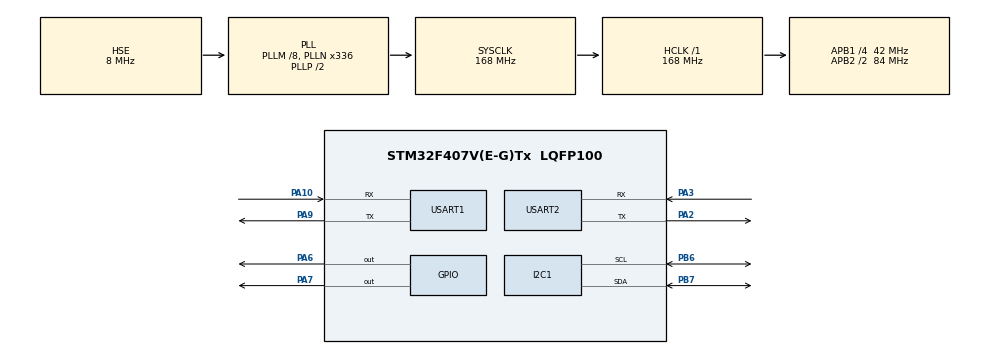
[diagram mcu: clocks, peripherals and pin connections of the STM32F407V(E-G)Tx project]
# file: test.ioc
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Dma.Request0=USART1_RX
Dma.USART1_RX.0.Direction=DMA_PERIPH_TO_MEMORY
Dma.USART1_RX.0.FIFOMode=DMA_FIFOMODE_DISABLE
Dma.USART1_RX.0.Instance=DMA2_Stream2
Dma.USART1_RX.0.MemDataAlignment=DMA_MDATAALIGN_BYTE
Dma.USART1_RX.0.MemInc=DMA_MINC_ENABLE
Dma.USART1_RX.0.Mode=DMA_NORMAL
Dma.USART1_RX.0.PeriphDataAlignment=DMA_PDATAALIGN_BYTE
Dma.USART1_RX.0.PeriphInc=DMA_PINC_DISABLE
Dma.USART1_RX.0.Priority=DMA_PRIORITY_MEDIUM
FREERTOS.Tasks01=defaultTask,24,128,StartDefaultTask,Default,NULL,Dynamic,NULL,NULL;sensorTask,40,256,SensorTask,Default,NULL,Dynamic,NULL,NULL;mqttTask,24,512,MQTTTask,Default,NULL,Dynamic,NULL,NULL
Mcu.Family=STM32F4
Mcu.Name=STM32F407V(E-G)Tx
Mcu.Package=LQFP100
NVIC.DMA2_Stream2_IRQn=true\:6\:0\:true\:false\:true\:true\:false\:true\:true
NVIC.PriorityGroup=NVIC_PRIORITYGROUP_4
NVIC.TIM7_IRQn=true\:15\:0\:false\:false\:true\:false\:false\:true\:true
NVIC.TimeBase=TIM7_IRQn
NVIC.TimeBaseIP=TIM7
NVIC.USART1_IRQn=true\:5\:0\:true\:false\:true\:true\:true\:true\:true
PA10.Mode=Asynchronous
PA10.Signal=USART1_RX
PA13.Mode=Serial_Wire
PA13.Signal=SYS_JTMS-SWDIO
PA14.Mode=Serial_Wire
PA14.Signal=SYS_JTCK-SWCLK
PA2.Mode=Asynchronous
PA2.Signal=USART2_TX
PA3.Mode=Asynchronous
PA3.Signal=USART2_RX
PA6.Signal=GPIO_Output
PA7.Signal=GPIO_Output
PA9.Mode=Asynchronous
PA9.Signal=USART1_TX
PB6.Mode=I2C
PB6.Signal=I2C1_SCL
PB7.Mode=I2C
PB7.Signal=I2C1_SDA
PH0-OSC_IN.Mode=HSE-External-Oscillator
PH0-OSC_IN.Signal=RCC_OSC_IN
PH1-OSC_OUT.Mode=HSE-External-Oscillator
PH1-OSC_OUT.Signal=RCC_OSC_OUT
ProjectManager.HeapSize=0x200
ProjectManager.StackSize=0x400
ProjectManager.TargetToolchain=MDK-ARM V5.32
RCC.48MHZClocksFreq_Value=84000000
RCC.AHBFreq_Value=168000000
RCC.APB1CLKDivider=RCC_HCLK_DIV4
RCC.APB1Freq_Value=42000000
RCC.APB1TimFreq_Value=84000000
RCC.APB2CLKDivider=RCC_HCLK_DIV2
RCC.APB2Freq_Value=84000000
RCC.APB2TimFreq_Value=168000000
RCC.CortexFreq_Value=168000000
RCC.HCLKFreq_Value=168000000
RCC.HSE_VALUE=8000000
RCC.HSI_VALUE=16000000
RCC.LSE_VALUE=32768
RCC.PLLM=8
RCC.PLLN=336
RCC.PLLSourceVirtual=RCC_PLLSOURCE_HSE
RCC.SYSCLKFreq_VALUE=168000000
RCC.SYSCLKSource=RCC_SYSCLKSOURCE_PLLCLK
RCC.VCOOutputFreq_Value=336000000
USART1.VirtualMode=VM_ASYNC
USART2.VirtualMode=VM_ASYNC
VP_FREERTOS_VS_CMSIS_V2.Mode=CMSIS_V2
VP_SYS_VS_tim7.Mode=TIM7
board=custom

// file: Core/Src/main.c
/* USER CODE BEGIN Header */
/**
  ******************************************************************************
  * @file           : main.c
  * @brief          : Main program body
  ******************************************************************************
  * @attention
  *
  * Copyright (c) 2026 STMicroelectronics.
  * All rights reserved.
  *
  * This software is licensed under terms that can be found in the LICENSE file
  * in the root directory of this software component.
  * If no LICENSE file comes with this software, it is provided AS-IS.
  *
  ******************************************************************************
  */
/* USER CODE END Header */
#include "main.h"
#include "cmsis_os.h"
#include "dma.h"
#include "i2c.h"
#include "usart.h"
#include "gpio.h"

/* USER CODE BEGIN Includes */
#include "app_sensor.h"
#include "app_mqtt.h"
/* USER CODE END Includes */

void SystemClock_Config(void);
void MX_FREERTOS_Init(void);

/* USER CODE BEGIN 0 */
#include <stdio.h>

//printf重定向到USART2
int fputc(int ch, FILE *f){
	HAL_UART_Transmit(&huart2,(uint8_t *)&ch, 1, 10);
	//相当于 uint8_t c = (uint8_t)ch; 然后用&c
	return ch;
}
/* USER CODE END 0 */

int main(void)
{

  /* USER CODE BEGIN 1 */
  /*
   * 注：所有应用层变量已移至各任务内部。
   * 传感器数据 (SHT30) → SensorTask 的 App_Sensor_Update()
   * MQTT 发布周期     → MQTTTask 的 osKernelGetTickCount() 计时
   * main() 仅负责 HAL 初始化、外设初始化、启动调度器。
   */
  /* USER CODE END 1 */

  /* MCU Configuration--------------------------------------------------------*/

  /* Reset of all peripherals, Initializes the Flash interface and the Systick. */
  HAL_Init();

  /* Configure the system clock */
  SystemClock_Config();

  /* Initialize all configured peripherals */
  MX_GPIO_Init();
  MX_DMA_Init();
  MX_I2C1_Init();
  MX_USART1_UART_Init();
  MX_USART2_UART_Init();
  /* USER CODE BEGIN 2 */
  /*
   * 打印系统启动信息。
   * 注意：App_Sensor_Init() 和 App_MQTT_Init() 已移至各自的 FreeRTOS 任务中执行，
   *       确保调度器启动后所有阻塞操作不会影响系统整体运行。
   *       - SensorTask: 入口调用 App_Sensor_Init()
   *       - MQTTTask:   入口调用 App_MQTT_Init() （含失败重试）
   */
  printf("\r\n=======================================\r\n");
  printf("[SYS] EdgeLogger System Starting...\r\n");
  printf("[SYS] HAL & Peripherals initialized, starting FreeRTOS scheduler...\r\n");
  printf("=======================================\r\n");
  /* USER CODE END 2 */

  /* Init scheduler */
  osKernelInitialize();  /* Call init function for freertos objects (in cmsis_os2.c) */
  MX_FREERTOS_Init();

  /* Start scheduler */
  osKernelStart();

  /* We should never get here as control is now taken by the scheduler */

  /* Infinite loop */
  /* USER CODE BEGIN WHILE */
  /*
   * 调度器启动后控制权已交给 FreeRTOS，正常情况下永远不会执行到这里。
   * 所有应用逻辑在独立的 FreeRTOS 任务中运行：
   *   - StartDefaultTask : 系统健康监控（每 10s 打印堆栈状态）
   *   - SensorTask       : SHT30 温湿度采集（每 2s）
   *   - MQTTTask         : MQTT 通信（接收下发 + 每 5s 上报）
   *
   * 如果到达此处，说明调度器异常退出，进入错误处理。
   */
  while (1)
  {
    /* 调度器已停止 —— 什么都不做 */
    /* USER CODE END WHILE */

  }
}

void SystemClock_Config(void)
{
  RCC_OscInitTypeDef RCC_OscInitStruct = {0};
  RCC_ClkInitTypeDef RCC_ClkInitStruct = {0};

  /** Configure the main internal regulator output voltage
  */
  __HAL_RCC_PWR_CLK_ENABLE();
  __HAL_PWR_VOLTAGESCALING_CONFIG(PWR_REGULATOR_VOLTAGE_SCALE1);

  /** Initializes the RCC Oscillators according to the specified parameters
  * in the RCC_OscInitTypeDef structure.
  */
  RCC_OscInitStruct.OscillatorType = RCC_OSCILLATORTYPE_HSE;
  RCC_OscInitStruct.HSEState = RCC_HSE_ON;
  RCC_OscInitStruct.PLL.PLLState = RCC_PLL_ON;
  RCC_OscInitStruct.PLL.PLLSource = RCC_PLLSOURCE_HSE;
  RCC_OscInitStruct.PLL.PLLM = 8;
  RCC_OscInitStruct.PLL.PLLN = 336;
  RCC_OscInitStruct.PLL.PLLP = RCC_PLLP_DIV2;
  RCC_OscInitStruct.PLL.PLLQ = 4;
  if (HAL_RCC_OscConfig(&RCC_OscInitStruct) != HAL_OK)
  {
    Error_Handler();
  }

  /** Initializes the CPU, AHB and APB buses clocks
  */
  RCC_ClkInitStruct.ClockType = RCC_CLOCKTYPE_HCLK|RCC_CLOCKTYPE_SYSCLK
                              |RCC_CLOCKTYPE_PCLK1|RCC_CLOCKTYPE_PCLK2;
  RCC_ClkInitStruct.SYSCLKSource = RCC_SYSCLKSOURCE_PLLCLK;
  RCC_ClkInitStruct.AHBCLKDivider = RCC_SYSCLK_DIV1;
  RCC_ClkInitStruct.APB1CLKDivider = RCC_HCLK_DIV4;
  RCC_ClkInitStruct.APB2CLKDivider = RCC_HCLK_DIV2;

  if (HAL_RCC_ClockConfig(&RCC_ClkInitStruct, FLASH_LATENCY_5) != HAL_OK)
  {
    Error_Handler();
  }
}

void HAL_TIM_PeriodElapsedCallback(TIM_HandleTypeDef *htim)
{
  if (htim->Instance == TIM7)
  {
    HAL_IncTick();
  }
}

void Error_Handler(void)
{
  __disable_irq();
  while (1)
  {
  }
}

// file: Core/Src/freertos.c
/* USER CODE BEGIN Header */
/**
  ******************************************************************************
  * File Name          : freertos.c
  * Description        : FreeRTOS 任务创建与任务函数定义
  ******************************************************************************
  * @attention
  *
  * Copyright (c) 2026 STMicroelectronics.
  * All rights reserved.
  *
  * This software is licensed under terms that can be found in the LICENSE file
  * in the root directory of this software component.
  * If no LICENSE file comes with this software, it is provided AS-IS.
  *
  ******************************************************************************
  */
/* USER CODE END Header */

#include "FreeRTOS.h"
#include "task.h"
#include "main.h"
#include "cmsis_os.h"

/* USER CODE BEGIN Includes */
#include "app_sensor.h"     /* SHT30 温湿度传感器应用接口 */
#include "app_mqtt.h"       /* MQTT 连接管理 & OneNet 数据上报 */
/* USER CODE END Includes */

/* USER CODE BEGIN Variables */

/* ---- 任务函数内部使用的延时/周期常量 ----
 * 这些常量的"唯一源头"定义在 app_sensor.h 和 app_mqtt.h 中，
 * 这里直接引用，避免两处定义不同步。
 *   - SENSOR_READ_INTERVAL_MS  → app_sensor.h
 *   - PUBLISH_INTERVAL_MS      → app_mqtt.h
 *   - RECONNECT_DELAY_MS       → app_mqtt.h
 *   - TASK_LOOP_DELAY_MS       → app_mqtt.h
 */

/* USER CODE END Variables */

/* Definitions for defaultTask */
osThreadId_t defaultTaskHandle;
const osThreadAttr_t defaultTask_attributes = {
  .name = "defaultTask",
  .stack_size = 128 * 4,
  .priority = (osPriority_t) osPriorityNormal,
};
/* Definitions for sensorTask */
osThreadId_t sensorTaskHandle;
const osThreadAttr_t sensorTask_attributes = {
  .name = "sensorTask",
  .stack_size = 256 * 4,
  .priority = (osPriority_t) osPriorityHigh,
};
/* Definitions for mqttTask */
osThreadId_t mqttTaskHandle;
const osThreadAttr_t mqttTask_attributes = {
  .name = "mqttTask",
  .stack_size = 512 * 4,
  .priority = (osPriority_t) osPriorityNormal,
};

void StartDefaultTask(void *argument);
void SensorTask(void *argument);
void MQTTTask(void *argument);

void MX_FREERTOS_Init(void); /* (MISRA C 2004 rule 8.1) */

void MX_FREERTOS_Init(void) {

  /* Create the thread(s) */
  /* creation of defaultTask */
  defaultTaskHandle = osThreadNew(StartDefaultTask, NULL, &defaultTask_attributes);

  /* creation of sensorTask */
  sensorTaskHandle = osThreadNew(SensorTask, NULL, &sensorTask_attributes);

  /* creation of mqttTask */
  mqttTaskHandle = osThreadNew(MQTTTask, NULL, &mqttTask_attributes);

}

void StartDefaultTask(void *argument)
{
  /* USER CODE BEGIN StartDefaultTask */
  /*
   * ====== 系统健康监控任务 ======
   * 每 10 秒打印一次堆栈和堆使用情况，
   * 表明 FreeRTOS 调度器正常工作，各个任务正常运行。
   */
  for(;;)
  {
    printf("[SYS] ====== System Alive ======\r\n");
    printf("[SYS] Free Heap: %u bytes\r\n",
           (unsigned int)xPortGetFreeHeapSize());

    osDelay(10000);
  }
  /* USER CODE END StartDefaultTask */
}

/* USER CODE BEGIN Header_SensorTask */
/**
  * @brief  Function implementing the sensorTask thread.
  * @note   负责 SHT30 温湿度传感器初始化与周期性数据采集。
  *         采集到的数据通过互斥锁保护，供 MQTTTask 等任务读取。
  * @param  argument: Not used
  * @retval None
  */
/* USER CODE END Header_SensorTask */
void SensorTask(void *argument)
{
  /* USER CODE BEGIN SensorTask */
  /*
   * ---- 1. 初始化 SHT30 传感器 ----
   * 包括内部互斥锁创建、传感器自检、首次读取。
   */
  App_Sensor_Init();

  /*
   * ---- 2. 主循环：每 SENSOR_READ_INTERVAL_MS 采集一次温湿度 ----
   */
  for(;;)
  {
    App_Sensor_Update();                        /* 采集并更新共享变量 */
    osDelay(SENSOR_READ_INTERVAL_MS);           /* 等待周期 + 让出 CPU */
  }
  /* USER CODE END SensorTask */
}

/* USER CODE BEGIN Header_MQTTTask */
/**
  * @brief  Function implementing the mqttTask thread.
  * @note   负责 ESP8266 初始化、WiFi 连接、OneNET MQTT 连接，
  *         以及传感器数据的定时上报和云端下行消息处理。
  *
  *         失败重试机制：
  *         - 初次连网失败会每隔 RECONNECT_DELAY_MS 重试
  *         - 运行中检测到 MQTT 断开通过 App_MQTT_Reconnect() 自动重连
  *         - MQTT 连接状态通过 App_MQTT_IsConnected() 查询（封装在模块内）
  * @param  argument: Not used
  * @retval None
  */
/* USER CODE END Header_MQTTTask */
void MQTTTask(void *argument)
{
  /* USER CODE BEGIN MQTTTask */

  uint32_t last_pub_tick = 0;   /* 上次发布时间戳（osKernelGetTickCount） */
  float    current_temp  = 0.0f;
  float    current_hum   = 0.0f;

  /*
   * ---- 1. 初始化 MQTT 连接（带重试） ----
   * 如果首次连接失败，每隔 RECONNECT_DELAY_MS 重试一次。
   */
  printf("[MQTT] Task started. Connecting to OneNET...\r\n");

  while (App_MQTT_Init() != true)
  {
    printf("[MQTT] Initialization failed, retry in %d ms...\r\n",
           RECONNECT_DELAY_MS);
    osDelay(RECONNECT_DELAY_MS);
  }

  /* 记录当前时刻，用于后续发布计时 */
  last_pub_tick = osKernelGetTickCount();

  /*
   * ---- 2. 主循环：接收下行 + 定时上报 + 断线重连 ----
   */
  for(;;)
  {
    /*
     * 2a. 处理 ESP8266 接收到的下行数据
     *     非阻塞，无数据时立即返回。内部检测到断开时会更新连接状态。
     */
    App_MQTT_ProcessIncoming();

    /*
     * 2b. 每 PUBLISH_INTERVAL_MS 发布一次传感器数据
     *     基于 osKernelGetTickCount() 实现非阻塞定时，不阻塞 osDelay。
     */
    uint32_t now = osKernelGetTickCount();
    if ((now - last_pub_tick) >= PUBLISH_INTERVAL_MS)
    {
      last_pub_tick = now;

      /* 线程安全地读取传感器最新数据 */
      if (App_Sensor_GetData(&current_temp, &current_hum))
      {
        App_MQTT_Publish_SensorData(current_temp, current_hum);
      }
      else
      {
        printf("[MQTT] Sensor data invalid, publish skipped.\r\n");
      }
    }

    /*
     * 2c. 检测到 MQTT 连接断开时尝试自动重连
     *     连接状态由 App_MQTT_ProcessIncoming() 在收到断开帧时更新。
     */
    if (!App_MQTT_IsConnected())
    {
      printf("[MQTT] Reconnecting...\r\n");
      if (App_MQTT_Reconnect())
      {
        /* 重连成功，重置发布计时 */
        last_pub_tick = osKernelGetTickCount();
      }
      else
      {
        printf("[MQTT] Reconnect failed, retry in %d ms\r\n",
               RECONNECT_DELAY_MS);
        osDelay(RECONNECT_DELAY_MS);
      }
    }

    /* 2d. 让出 CPU，等待下一次调度 */
    osDelay(TASK_LOOP_DELAY_MS);
  }
  /* USER CODE END MQTTTask */
}
